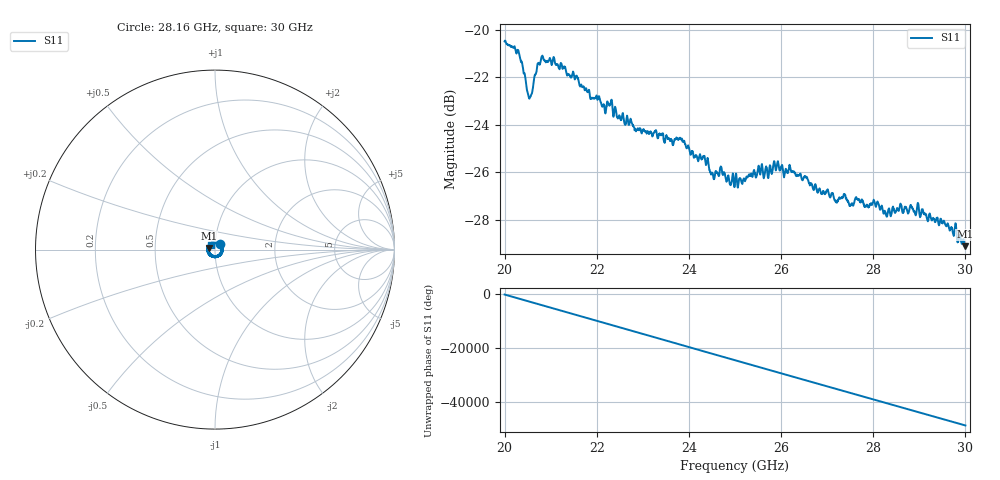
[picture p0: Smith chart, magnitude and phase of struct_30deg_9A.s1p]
#  HZ  S  RI  R  50.00
! Rohde & Schwarz ZVA40 4Ports - Version 3.90 - 1145.1110k42 SN: 100403
! Date: 2023-09-28 10:28:24
! Measurement: S12
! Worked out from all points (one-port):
!   5001 points, 20 GHz to 30 GHz, reference 50 ohm
!   lowest |S11| = -29.1 dB at 29.99 GHz (marker M1), VSWR 1.07, Z = 46.7 + j0.885 ohm
!   |S11| at or under -10 dB: start of sweep to end of sweep
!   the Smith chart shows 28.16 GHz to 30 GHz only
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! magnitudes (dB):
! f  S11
! 20 GHz  -20.5
! 20.32 GHz  -21.0
! 20.54 GHz  -22.9
! 20.69 GHz  -21.7
! 20.81 GHz  -21.1
! 21.25 GHz  -21.6
! 22.15 GHz  -23.2
! 22.29 GHz  -23.2
! 22.5 GHz  -23.7
! 22.87 GHz  -24.2
! 23.75 GHz  -24.6
! 24.37 GHz  -25.6
! 24.51 GHz  -26.1
! 24.72 GHz  -25.9
! 24.86 GHz  -26.2
! 25 GHz  -26.5
! 25.75 GHz  -25.7
! 25.89 GHz  -25.9
! 26.25 GHz  -26.0
! 27.5 GHz  -27.4
! 27.65 GHz  -27.1
! 27.86 GHz  -27.4
! 28.06 GHz  -27.4
! 28.26 GHz  -27.7
! 28.75 GHz  -27.7
! 29.5 GHz  -28.1
! 29.99 GHz  -29.1
! 30 GHz  -29.1
